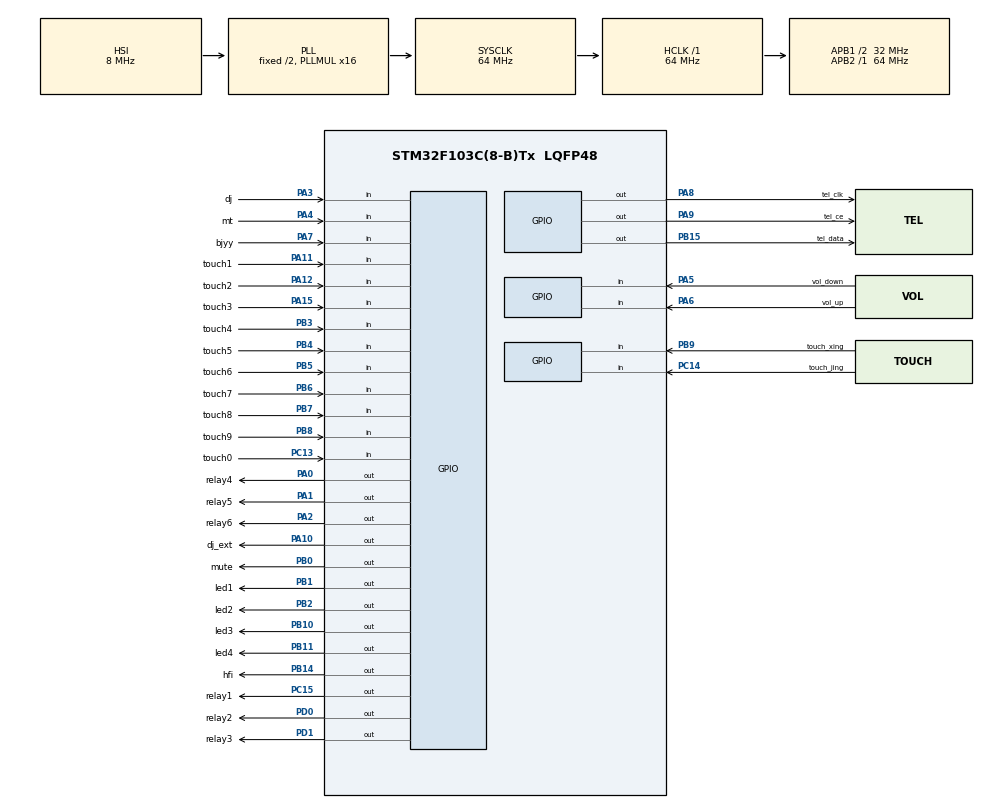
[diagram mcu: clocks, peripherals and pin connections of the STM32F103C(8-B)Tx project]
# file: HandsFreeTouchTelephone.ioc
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Mcu.Family=STM32F1
Mcu.Name=STM32F103C(8-B)Tx
Mcu.Package=LQFP48
NVIC.PriorityGroup=NVIC_PRIORITYGROUP_4
NVIC.TIM4_IRQn=true\:0\:0\:false\:false\:true\:true
PA0-WKUP.GPIO_Label=relay4
PA0-WKUP.GPIO_ModeDefaultOutputPP=GPIO_MODE_OUTPUT_PP
PA0-WKUP.GPIO_Speed=GPIO_SPEED_FREQ_LOW
PA0-WKUP.PinState=GPIO_PIN_RESET
PA0-WKUP.Signal=GPIO_Output
PA1.GPIO_Label=relay5
PA1.GPIO_ModeDefaultOutputPP=GPIO_MODE_OUTPUT_PP
PA1.GPIO_Speed=GPIO_SPEED_FREQ_LOW
PA1.PinState=GPIO_PIN_RESET
PA1.Signal=GPIO_Output
PA10.GPIO_Label=dj_ext
PA10.Signal=GPIO_Output
PA11.GPIO_Label=touch1
PA11.GPIO_Mode=GPIO_MODE_INPUT
PA11.GPIO_PuPd=GPIO_PULLUP
PA11.Signal=GPIO_Input
PA12.GPIO_Label=touch2
PA12.GPIO_Mode=GPIO_MODE_INPUT
PA12.GPIO_PuPd=GPIO_PULLUP
PA12.Signal=GPIO_Input
PA13.Mode=Serial_Wire
PA13.Signal=SYS_JTMS-SWDIO
PA14.Mode=Serial_Wire
PA14.Signal=SYS_JTCK-SWCLK
PA15.GPIO_Label=touch3
PA15.GPIO_Mode=GPIO_MODE_INPUT
PA15.GPIO_PuPd=GPIO_PULLUP
PA15.Signal=GPIO_Input
PA2.GPIO_Label=relay6
PA2.GPIO_ModeDefaultOutputPP=GPIO_MODE_OUTPUT_PP
PA2.GPIO_Speed=GPIO_SPEED_FREQ_LOW
PA2.PinState=GPIO_PIN_RESET
PA2.Signal=GPIO_Output
PA3.GPIO_Label=dj
PA3.GPIO_Mode=GPIO_MODE_INPUT
PA3.GPIO_PuPd=GPIO_NOPULL
PA3.Signal=GPIO_Input
PA4.GPIO_Label=mt
PA4.GPIO_Mode=GPIO_MODE_INPUT
PA4.GPIO_PuPd=GPIO_NOPULL
PA4.Signal=GPIO_Input
PA5.GPIO_Label=vol_down
PA5.GPIO_Mode=GPIO_MODE_INPUT
PA5.GPIO_PuPd=GPIO_NOPULL
PA5.Signal=GPIO_Input
PA6.GPIO_Label=vol_up
PA6.GPIO_Mode=GPIO_MODE_INPUT
PA6.GPIO_PuPd=GPIO_NOPULL
PA6.Signal=GPIO_Input
PA7.GPIO_Label=bjyy
PA7.GPIO_Mode=GPIO_MODE_INPUT
PA7.GPIO_PuPd=GPIO_NOPULL
PA7.Signal=GPIO_Input
PA8.GPIO_Label=tel_clk
PA8.GPIO_ModeDefaultOutputPP=GPIO_MODE_OUTPUT_PP
PA8.GPIO_Speed=GPIO_SPEED_FREQ_HIGH
PA8.PinState=GPIO_PIN_SET
PA8.Signal=GPIO_Output
PA9.GPIO_Label=tel_ce
PA9.GPIO_ModeDefaultOutputPP=GPIO_MODE_OUTPUT_PP
PA9.GPIO_Speed=GPIO_SPEED_FREQ_HIGH
PA9.PinState=GPIO_PIN_SET
PA9.Signal=GPIO_Output
PB0.GPIO_Label=mute
PB0.Signal=GPIO_Output
PB1.GPIO_Label=led1
PB1.GPIO_ModeDefaultOutputPP=GPIO_MODE_OUTPUT_PP
PB1.GPIO_Speed=GPIO_SPEED_FREQ_LOW
PB1.PinState=GPIO_PIN_SET
PB1.Signal=GPIO_Output
PB10.GPIO_Label=led3
PB10.GPIO_ModeDefaultOutputPP=GPIO_MODE_OUTPUT_PP
PB10.GPIO_Speed=GPIO_SPEED_FREQ_LOW
PB10.PinState=GPIO_PIN_SET
PB10.Signal=GPIO_Output
PB11.GPIO_Label=led4
PB11.GPIO_ModeDefaultOutputPP=GPIO_MODE_OUTPUT_PP
PB11.GPIO_Speed=GPIO_SPEED_FREQ_LOW
PB11.PinState=GPIO_PIN_SET
PB11.Signal=GPIO_Output
PB14.GPIO_Label=hfi
PB14.Signal=GPIO_Output
PB15.GPIO_Label=tel_data
PB15.GPIO_ModeDefaultOutputPP=GPIO_MODE_OUTPUT_PP
PB15.GPIO_Speed=GPIO_SPEED_FREQ_HIGH
PB15.PinState=GPIO_PIN_SET
PB15.Signal=GPIO_Output
PB2.GPIO_Label=led2
PB2.GPIO_ModeDefaultOutputPP=GPIO_MODE_OUTPUT_PP
PB2.GPIO_Speed=GPIO_SPEED_FREQ_LOW
PB2.PinState=GPIO_PIN_SET
PB2.Signal=GPIO_Output
PB3.GPIO_Label=touch4
PB3.GPIO_Mode=GPIO_MODE_INPUT
PB3.GPIO_PuPd=GPIO_PULLUP
PB3.Signal=GPIO_Input
PB4.GPIO_Label=touch5
PB4.GPIO_Mode=GPIO_MODE_INPUT
PB4.GPIO_PuPd=GPIO_PULLUP
PB4.Signal=GPIO_Input
PB5.GPIO_Label=touch6
PB5.GPIO_Mode=GPIO_MODE_INPUT
PB5.GPIO_PuPd=GPIO_PULLUP
PB5.Signal=GPIO_Input
PB6.GPIO_Label=touch7
PB6.GPIO_Mode=GPIO_MODE_INPUT
PB6.GPIO_PuPd=GPIO_PULLUP
PB6.Signal=GPIO_Input
PB7.GPIO_Label=touch8
PB7.GPIO_Mode=GPIO_MODE_INPUT
PB7.GPIO_PuPd=GPIO_PULLUP
PB7.Signal=GPIO_Input
PB8.GPIO_Label=touch9
PB8.GPIO_Mode=GPIO_MODE_INPUT
PB8.GPIO_PuPd=GPIO_PULLUP
PB8.Signal=GPIO_Input
PB9.GPIO_Label=touch_xing
PB9.GPIO_Mode=GPIO_MODE_INPUT
PB9.GPIO_PuPd=GPIO_PULLUP
PB9.Signal=GPIO_Input
PC13-TAMPER-RTC.GPIO_Label=touch0
PC13-TAMPER-RTC.GPIO_Mode=GPIO_MODE_INPUT
PC13-TAMPER-RTC.GPIO_PuPd=GPIO_PULLUP
PC13-TAMPER-RTC.Signal=GPIO_Input
PC14-OSC32_IN.GPIO_Label=touch_jing
PC14-OSC32_IN.GPIO_Mode=GPIO_MODE_INPUT
PC14-OSC32_IN.GPIO_PuPd=GPIO_PULLUP
PC14-OSC32_IN.Signal=GPIO_Input
PC15-OSC32_OUT.GPIO_Label=relay1
PC15-OSC32_OUT.GPIO_ModeDefaultOutputPP=GPIO_MODE_OUTPUT_PP
PC15-OSC32_OUT.GPIO_Speed=GPIO_SPEED_FREQ_LOW
PC15-OSC32_OUT.PinState=GPIO_PIN_RESET
PC15-OSC32_OUT.Signal=GPIO_Output
PD0-OSC_IN.GPIO_Label=relay2
PD0-OSC_IN.GPIO_ModeDefaultOutputPP=GPIO_MODE_OUTPUT_PP
PD0-OSC_IN.GPIO_Speed=GPIO_SPEED_FREQ_LOW
PD0-OSC_IN.PinState=GPIO_PIN_RESET
PD0-OSC_IN.Signal=GPIO_Output
PD1-OSC_OUT.GPIO_Label=relay3
PD1-OSC_OUT.GPIO_ModeDefaultOutputPP=GPIO_MODE_OUTPUT_PP
PD1-OSC_OUT.GPIO_Speed=GPIO_SPEED_FREQ_LOW
PD1-OSC_OUT.PinState=GPIO_PIN_RESET
PD1-OSC_OUT.Signal=GPIO_Output
ProjectManager.HeapSize=0x200
ProjectManager.StackSize=0x400
ProjectManager.TargetToolchain=Other Toolchains (GPDSC)
RCC.AHBFreq_Value=64000000
RCC.APB1CLKDivider=RCC_HCLK_DIV2
RCC.APB1Freq_Value=32000000
RCC.APB1TimFreq_Value=64000000
RCC.APB2Freq_Value=64000000
RCC.APB2TimFreq_Value=64000000
RCC.HCLKFreq_Value=64000000
RCC.PLLMUL=RCC_PLL_MUL16
RCC.SYSCLKFreq_VALUE=64000000
RCC.SYSCLKSource=RCC_SYSCLKSOURCE_PLLCLK
RCC.USBFreq_Value=64000000
TIM4.Period=1000
TIM4.Prescaler=63
VP_TIM4_VS_ClockSourceINT.Mode=Internal
board=HandsFreeTouchTelephone

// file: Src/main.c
/**
  ******************************************************************************
  * @file           : main.c
  * @brief          : Main program body
  ******************************************************************************
  ** This notice applies to any and all portions of this file
  * that are not between comment pairs USER CODE BEGIN and
  * USER CODE END. Other portions of this file, whether
  * inserted by the user or by software development tools
  * are owned by their respective copyright owners.
  *
  * COPYRIGHT(c) 2018 STMicroelectronics
  *
  * Redistribution and use in source and binary forms, with or without modification,
  * are permitted provided that the following conditions are met:
  *   1. Redistributions of source code must retain the above copyright notice,
  *      this list of conditions and the following disclaimer.
  *   2. Redistributions in binary form must reproduce the above copyright notice,
  *      this list of conditions and the following disclaimer in the documentation
  *      and/or other materials provided with the distribution.
  *   3. Neither the name of STMicroelectronics nor the names of its contributors
  *      may be used to endorse or promote products derived from this software
  *      without specific prior written permission.
  *
  * THIS SOFTWARE IS PROVIDED BY THE COPYRIGHT HOLDERS AND CONTRIBUTORS "AS IS"
  * AND ANY EXPRESS OR IMPLIED WARRANTIES, INCLUDING, BUT NOT LIMITED TO, THE
  * IMPLIED WARRANTIES OF MERCHANTABILITY AND FITNESS FOR A PARTICULAR PURPOSE ARE
  * DISCLAIMED. IN NO EVENT SHALL THE COPYRIGHT HOLDER OR CONTRIBUTORS BE LIABLE
  * FOR ANY DIRECT, INDIRECT, INCIDENTAL, SPECIAL, EXEMPLARY, OR CONSEQUENTIAL
  * DAMAGES (INCLUDING, BUT NOT LIMITED TO, PROCUREMENT OF SUBSTITUTE GOODS OR
  * SERVICES; LOSS OF USE, DATA, OR PROFITS; OR BUSINESS INTERRUPTION) HOWEVER
  * CAUSED AND ON ANY THEORY OF LIABILITY, WHETHER IN CONTRACT, STRICT LIABILITY,
  * OR TORT (INCLUDING NEGLIGENCE OR OTHERWISE) ARISING IN ANY WAY OUT OF THE USE
  * OF THIS SOFTWARE, EVEN IF ADVISED OF THE POSSIBILITY OF SUCH DAMAGE.
  *
  ******************************************************************************
  */
#include "main.h"
#include "stm32f1xx_hal.h"
#include "tim.h"
#include "gpio.h"

/* USER CODE BEGIN Includes */

#define HT9200_CE_LOW		HAL_GPIO_WritePin(tel_ce_GPIO_Port,tel_ce_Pin,GPIO_PIN_RESET)
#define HT9200_CE_HIGH		HAL_GPIO_WritePin(tel_ce_GPIO_Port,tel_ce_Pin,GPIO_PIN_SET)

#define HT9200_DATA_LOW		HAL_GPIO_WritePin(tel_data_GPIO_Port,tel_data_Pin,GPIO_PIN_RESET)
#define HT9200_DATA_HIGH	HAL_GPIO_WritePin(tel_data_GPIO_Port,tel_data_Pin,GPIO_PIN_SET)

#define HT9200_CLK_LOW		HAL_GPIO_WritePin(tel_clk_GPIO_Port,tel_clk_Pin,GPIO_PIN_RESET)
#define HT9200_CLK_HIGH		HAL_GPIO_WritePin(tel_clk_GPIO_Port,tel_clk_Pin,GPIO_PIN_SET)

#define HT9200_MUTE_HIGH	HAL_GPIO_WritePin(mute_GPIO_Port,mute_Pin,GPIO_PIN_SET)
#define HT9200_MUTE_LOW		HAL_GPIO_WritePin(mute_GPIO_Port,mute_Pin,GPIO_PIN_RESET)
/* USER CODE END Includes */

/* USER CODE BEGIN PV */
/* Private variables ---------------------------------------------------------*/

uint8_t bjyyFlag = 0;
int8_t bjyyValue = 4;
uint16_t count;
uint8_t muteFlag;

/* USER CODE END PV */

void SystemClock_Config(void);

/* USER CODE BEGIN PFP */
/* Private function prototypes -----------------------------------------------*/

/* USER CODE END PFP */

/* USER CODE BEGIN 0 */

void keyScan(void);
void sendOneBit(uint8_t dtmfData);

/* USER CODE END 0 */

int main(void)
{

  /* MCU Configuration----------------------------------------------------------*/

  /* Reset of all peripherals, Initializes the Flash interface and the Systick. */
  HAL_Init();

  /* Configure the system clock */
  SystemClock_Config();

  /* Initialize all configured peripherals */
  MX_GPIO_Init();
  MX_TIM4_Init();
  /* USER CODE BEGIN 2 */
  HAL_TIM_Base_Start_IT(&htim4);
  /* USER CODE END 2 */

  /* Infinite loop */
  while (1)
  {

  /* USER CODE BEGIN 3 */
	  keyScan();
  }
  /* USER CODE END 3 */

}

void SystemClock_Config(void)
{

  RCC_OscInitTypeDef RCC_OscInitStruct;
  RCC_ClkInitTypeDef RCC_ClkInitStruct;

    /**Initializes the CPU, AHB and APB busses clocks
    */
  RCC_OscInitStruct.OscillatorType = RCC_OSCILLATORTYPE_HSI;
  RCC_OscInitStruct.HSIState = RCC_HSI_ON;
  RCC_OscInitStruct.HSICalibrationValue = 16;
  RCC_OscInitStruct.PLL.PLLState = RCC_PLL_ON;
  RCC_OscInitStruct.PLL.PLLSource = RCC_PLLSOURCE_HSI_DIV2;
  RCC_OscInitStruct.PLL.PLLMUL = RCC_PLL_MUL16;
  if (HAL_RCC_OscConfig(&RCC_OscInitStruct) != HAL_OK)
  {
    _Error_Handler(__FILE__, __LINE__);
  }

    /**Initializes the CPU, AHB and APB busses clocks
    */
  RCC_ClkInitStruct.ClockType = RCC_CLOCKTYPE_HCLK|RCC_CLOCKTYPE_SYSCLK
                              |RCC_CLOCKTYPE_PCLK1|RCC_CLOCKTYPE_PCLK2;
  RCC_ClkInitStruct.SYSCLKSource = RCC_SYSCLKSOURCE_PLLCLK;
  RCC_ClkInitStruct.AHBCLKDivider = RCC_SYSCLK_DIV1;
  RCC_ClkInitStruct.APB1CLKDivider = RCC_HCLK_DIV2;
  RCC_ClkInitStruct.APB2CLKDivider = RCC_HCLK_DIV1;

  if (HAL_RCC_ClockConfig(&RCC_ClkInitStruct, FLASH_LATENCY_2) != HAL_OK)
  {
    _Error_Handler(__FILE__, __LINE__);
  }

    /**Configure the Systick interrupt time
    */
  HAL_SYSTICK_Config(HAL_RCC_GetHCLKFreq()/1000);

    /**Configure the Systick
    */
  HAL_SYSTICK_CLKSourceConfig(SYSTICK_CLKSOURCE_HCLK);

  /* SysTick_IRQn interrupt configuration */
  HAL_NVIC_SetPriority(SysTick_IRQn, 0, 0);
}

/* USER CODE BEGIN 4 */

void HAL_TIM_PeriodElapsedCallback(TIM_HandleTypeDef *htim)
{

	if (htim->Instance == TIM4)//tim4 1ms
	{

		if (muteFlag == 1) {
			count++;
		}

		if (count >4000) {
			muteFlag = 0;
			count = 0;
			//	HAL_GPIO_TogglePin(led3_GPIO_Port,led3_Pin);
			HT9200_MUTE_LOW;

		}
	}
}

void sendOneBit(uint8_t dtmfData) {

	muteFlag = 1;
	HT9200_MUTE_HIGH;
	HT9200_CE_LOW;
	HAL_Delay(20);
	for (int i = 0; i<5; i++) {
		HT9200_CLK_HIGH;
		HAL_Delay(4);
		if (dtmfData & 0x01) {
			HT9200_DATA_HIGH;
			HAL_Delay(4);
		}
		else {
			HT9200_DATA_LOW;
			HAL_Delay(4);
		}
		HT9200_CLK_LOW;
		HAL_Delay(4);
		HT9200_CLK_HIGH;
		HAL_Delay(4);
		dtmfData >>= 1;
	}
	HAL_Delay(100);
	HT9200_CE_HIGH;
	HT9200_DATA_HIGH;
	HAL_Delay(10);
}

void keyScan() {

	/*对讲*/
	if (HAL_GPIO_ReadPin(dj_GPIO_Port,dj_Pin) == 0)
	{
		HAL_GPIO_WritePin(dj_ext_GPIO_Port, dj_ext_Pin, GPIO_PIN_SET);
	}
	else {
		HAL_GPIO_WritePin(dj_ext_GPIO_Port, dj_ext_Pin, GPIO_PIN_RESET);
	}

	/*免提*/
	if (HAL_GPIO_ReadPin(mt_GPIO_Port, mt_Pin) == 0) {
		HAL_Delay(20);
		if (HAL_GPIO_ReadPin(mt_GPIO_Port, mt_Pin) == 0) {
			HAL_Delay(20);
			while (HAL_GPIO_ReadPin(mt_GPIO_Port, mt_Pin) == 0) {}
			HAL_GPIO_TogglePin(hfi_GPIO_Port, hfi_Pin);
		}
	}

	/*背景音乐*/

	if (HAL_GPIO_ReadPin(bjyy_GPIO_Port, bjyy_Pin) == 0) {
		HAL_Delay(20);
		if (HAL_GPIO_ReadPin(bjyy_GPIO_Port, bjyy_Pin) == 0) {
			HAL_Delay(20);
			while (HAL_GPIO_ReadPin(bjyy_GPIO_Port, bjyy_Pin) == 0) {}

			if (bjyyFlag == 0)
			{
				bjyyFlag = 1;
			}
			else
			{
				bjyyFlag = 0;
			}

		}
	}

	if (1 == bjyyFlag)
	{
		if (HAL_GPIO_ReadPin(vol_up_GPIO_Port, vol_up_Pin) == 0) {
			HAL_Delay(20);
			if (HAL_GPIO_ReadPin(vol_up_GPIO_Port, vol_up_Pin) == 0) {
				HAL_Delay(20);
				while (HAL_GPIO_ReadPin(vol_up_GPIO_Port, vol_up_Pin) == 0) {}

				bjyyValue++;
				if (bjyyValue > 4)
				{
					bjyyValue = 4;
				}
			}
		}

		if (HAL_GPIO_ReadPin(vol_down_GPIO_Port, vol_down_Pin) == 0) {
			HAL_Delay(20);
			if (HAL_GPIO_ReadPin(vol_down_GPIO_Port, vol_down_Pin) == 0) {
				HAL_Delay(20);
				while (HAL_GPIO_ReadPin(vol_down_GPIO_Port, vol_down_Pin) == 0) {}

				bjyyValue--;
				if (bjyyValue < 1)
				{
					bjyyValue = 1;
				}
			}
		}

	}

	/*显示音量*/

	if (1 == bjyyFlag)
	{
		switch (bjyyValue)
		{
		case 0: HAL_GPIO_WritePin(led1_GPIO_Port, led1_Pin, GPIO_PIN_SET);
			HAL_GPIO_WritePin(led2_GPIO_Port, led2_Pin, GPIO_PIN_SET);
			HAL_GPIO_WritePin(led3_GPIO_Port, led3_Pin, GPIO_PIN_SET);
			HAL_GPIO_WritePin(led4_GPIO_Port, led4_Pin, GPIO_PIN_SET);

			HAL_GPIO_WritePin(relay1_GPIO_Port, relay1_Pin, GPIO_PIN_RESET);
			HAL_GPIO_WritePin(relay2_GPIO_Port, relay2_Pin, GPIO_PIN_RESET);
			HAL_GPIO_WritePin(relay3_GPIO_Port, relay3_Pin, GPIO_PIN_RESET);
			HAL_GPIO_WritePin(relay4_GPIO_Port, relay4_Pin, GPIO_PIN_RESET);
			break;

		case 1: HAL_GPIO_WritePin(led1_GPIO_Port, led1_Pin, GPIO_PIN_RESET);
			HAL_GPIO_WritePin(led2_GPIO_Port, led2_Pin, GPIO_PIN_SET);
			HAL_GPIO_WritePin(led3_GPIO_Port, led3_Pin, GPIO_PIN_SET);
			HAL_GPIO_WritePin(led4_GPIO_Port, led4_Pin, GPIO_PIN_SET);

			HAL_GPIO_WritePin(relay1_GPIO_Port, relay1_Pin, GPIO_PIN_RESET);
			HAL_GPIO_WritePin(relay2_GPIO_Port, relay2_Pin, GPIO_PIN_RESET);
			HAL_GPIO_WritePin(relay3_GPIO_Port, relay3_Pin, GPIO_PIN_RESET);
			HAL_GPIO_WritePin(relay4_GPIO_Port, relay4_Pin, GPIO_PIN_SET);
			break;

		case 2: HAL_GPIO_WritePin(led1_GPIO_Port, led1_Pin, GPIO_PIN_RESET);
			HAL_GPIO_WritePin(led2_GPIO_Port, led2_Pin, GPIO_PIN_RESET);
			HAL_GPIO_WritePin(led3_GPIO_Port, led3_Pin, GPIO_PIN_SET);
			HAL_GPIO_WritePin(led4_GPIO_Port, led4_Pin, GPIO_PIN_SET);

			HAL_GPIO_WritePin(relay1_GPIO_Port, relay1_Pin, GPIO_PIN_RESET);
			HAL_GPIO_WritePin(relay2_GPIO_Port, relay2_Pin, GPIO_PIN_RESET);
			HAL_GPIO_WritePin(relay3_GPIO_Port, relay3_Pin, GPIO_PIN_SET);
			HAL_GPIO_WritePin(relay4_GPIO_Port, relay4_Pin, GPIO_PIN_RESET);
			break;

		case 3: HAL_GPIO_WritePin(led1_GPIO_Port, led1_Pin, GPIO_PIN_RESET);
			HAL_GPIO_WritePin(led2_GPIO_Port, led2_Pin, GPIO_PIN_RESET);
			HAL_GPIO_WritePin(led3_GPIO_Port, led3_Pin, GPIO_PIN_RESET);
			HAL_GPIO_WritePin(led4_GPIO_Port, led4_Pin, GPIO_PIN_SET);

			HAL_GPIO_WritePin(relay1_GPIO_Port, relay1_Pin, GPIO_PIN_RESET);
			HAL_GPIO_WritePin(relay2_GPIO_Port, relay2_Pin, GPIO_PIN_SET);
			HAL_GPIO_WritePin(relay3_GPIO_Port, relay3_Pin, GPIO_PIN_RESET);
			HAL_GPIO_WritePin(relay4_GPIO_Port, relay4_Pin, GPIO_PIN_RESET);
			break;

		case 4: HAL_GPIO_WritePin(led1_GPIO_Port, led1_Pin, GPIO_PIN_RESET);
			HAL_GPIO_WritePin(led2_GPIO_Port, led2_Pin, GPIO_PIN_RESET);
			HAL_GPIO_WritePin(led3_GPIO_Port, led3_Pin, GPIO_PIN_RESET);
			HAL_GPIO_WritePin(led4_GPIO_Port, led4_Pin, GPIO_PIN_RESET);

			HAL_GPIO_WritePin(relay1_GPIO_Port, relay1_Pin, GPIO_PIN_SET);
			HAL_GPIO_WritePin(relay2_GPIO_Port, relay2_Pin, GPIO_PIN_RESET);
			HAL_GPIO_WritePin(relay3_GPIO_Port, relay3_Pin, GPIO_PIN_RESET);
			HAL_GPIO_WritePin(relay4_GPIO_Port, relay4_Pin, GPIO_PIN_RESET);
			break;

		}
	}
	else
	{
		HAL_GPIO_WritePin(led1_GPIO_Port, led1_Pin, GPIO_PIN_SET);
		HAL_GPIO_WritePin(led2_GPIO_Port, led2_Pin, GPIO_PIN_SET);
		HAL_GPIO_WritePin(led3_GPIO_Port, led3_Pin, GPIO_PIN_SET);
		HAL_GPIO_WritePin(led4_GPIO_Port, led4_Pin, GPIO_PIN_SET);

		HAL_GPIO_WritePin(relay1_GPIO_Port, relay1_Pin, GPIO_PIN_RESET);
		HAL_GPIO_WritePin(relay2_GPIO_Port, relay2_Pin, GPIO_PIN_RESET);
		HAL_GPIO_WritePin(relay3_GPIO_Port, relay3_Pin, GPIO_PIN_RESET);
		HAL_GPIO_WritePin(relay4_GPIO_Port, relay4_Pin, GPIO_PIN_RESET);
	}

	/*拨号*/
	if (HAL_GPIO_ReadPin(touch0_GPIO_Port, touch0_Pin) == 0) {
		HAL_Delay(20);
		if (HAL_GPIO_ReadPin(touch0_GPIO_Port, touch0_Pin) == 0) {
			HAL_Delay(20);
			while (HAL_GPIO_ReadPin(touch0_GPIO_Port, touch0_Pin) == 0) {}
			//HAL_GPIO_TogglePin(led3_GPIO_Port,led3_Pin);
			sendOneBit(0X0A);

		}
	}

	if (HAL_GPIO_ReadPin(touch1_GPIO_Port, touch1_Pin) == 0) {
		HAL_Delay(20);
		if (HAL_GPIO_ReadPin(touch1_GPIO_Port, touch1_Pin) == 0) {
			HAL_Delay(20);
			while (HAL_GPIO_ReadPin(touch1_GPIO_Port, touch1_Pin) == 0) {}
			//HAL_GPIO_TogglePin(led3_GPIO_Port,led3_Pin);
			sendOneBit(1);

		}
	}

	if (HAL_GPIO_ReadPin(touch2_GPIO_Port, touch2_Pin) == 0) {
		HAL_Delay(20);
		if (HAL_GPIO_ReadPin(touch2_GPIO_Port, touch2_Pin) == 0) {
			HAL_Delay(20);
			while (HAL_GPIO_ReadPin(touch2_GPIO_Port, touch2_Pin) == 0) {}
			//HAL_GPIO_TogglePin(led3_GPIO_Port,led3_Pin);
			sendOneBit(2);

		}
	}

	if (HAL_GPIO_ReadPin(touch3_GPIO_Port, touch3_Pin) == 0) {
		HAL_Delay(20);
		if (HAL_GPIO_ReadPin(touch3_GPIO_Port, touch3_Pin) == 0) {
			HAL_Delay(20);
			while (HAL_GPIO_ReadPin(touch3_GPIO_Port, touch3_Pin) == 0) {}
			//	HAL_GPIO_TogglePin(led3_GPIO_Port,led3_Pin);
			sendOneBit(3);

		}
	}

	if (HAL_GPIO_ReadPin(touch4_GPIO_Port, touch4_Pin) == 0) {
		HAL_Delay(20);
		if (HAL_GPIO_ReadPin(touch4_GPIO_Port, touch4_Pin) == 0) {
			HAL_Delay(20);
			while (HAL_GPIO_ReadPin(touch4_GPIO_Port, touch4_Pin) == 0) {}
			//	HAL_GPIO_TogglePin(led3_GPIO_Port,led3_Pin);
			sendOneBit(4);

		}
	}

	if (HAL_GPIO_ReadPin(touch5_GPIO_Port, touch5_Pin) == 0) {
		HAL_Delay(20);
		if (HAL_GPIO_ReadPin(touch5_GPIO_Port, touch5_Pin) == 0) {
			HAL_Delay(20);
			while (HAL_GPIO_ReadPin(touch5_GPIO_Port, touch5_Pin) == 0) {}
			//	HAL_GPIO_TogglePin(led3_GPIO_Port,led3_Pin);
			sendOneBit(5);

		}
	}

	if (HAL_GPIO_ReadPin(touch6_GPIO_Port, touch6_Pin) == 0) {
		HAL_Delay(20);
		if (HAL_GPIO_ReadPin(touch6_GPIO_Port, touch6_Pin) == 0) {
			HAL_Delay(20);
			while (HAL_GPIO_ReadPin(touch6_GPIO_Port, touch6_Pin) == 0) {}
			//	HAL_GPIO_TogglePin(led3_GPIO_Port,led3_Pin);
			sendOneBit(6);

		}
	}

	if (HAL_GPIO_ReadPin(touch7_GPIO_Port, touch7_Pin) == 0) {
		HAL_Delay(20);
		if (HAL_GPIO_ReadPin(touch7_GPIO_Port, touch7_Pin) == 0) {
			HAL_Delay(20);
			while (HAL_GPIO_ReadPin(touch7_GPIO_Port, touch7_Pin) == 0) {}
			//	HAL_GPIO_TogglePin(led3_GPIO_Port,led3_Pin);
			sendOneBit(7);

		}
	}

	if (HAL_GPIO_ReadPin(touch8_GPIO_Port, touch8_Pin) == 0) {
		HAL_Delay(20);
		if (HAL_GPIO_ReadPin(touch8_GPIO_Port, touch8_Pin) == 0) {
			HAL_Delay(20);
			while (HAL_GPIO_ReadPin(touch8_GPIO_Port, touch8_Pin) == 0) {}
			//		HAL_GPIO_TogglePin(led3_GPIO_Port,led3_Pin);
			sendOneBit(8);

		}
	}

	if (HAL_GPIO_ReadPin(touch9_GPIO_Port, touch9_Pin) == 0) {
		HAL_Delay(20);
		if (HAL_GPIO_ReadPin(touch9_GPIO_Port, touch9_Pin) == 0) {
			HAL_Delay(20);
			while (HAL_GPIO_ReadPin(touch9_GPIO_Port, touch9_Pin) == 0) {}
			//		HAL_GPIO_TogglePin(led3_GPIO_Port,led3_Pin);
			sendOneBit(9);

		}
	}

	if (HAL_GPIO_ReadPin(touch_xing_GPIO_Port, touch_xing_Pin) == 0) {
		HAL_Delay(20);
		if (HAL_GPIO_ReadPin(touch_xing_GPIO_Port, touch_xing_Pin) == 0) {
			HAL_Delay(20);
			while (HAL_GPIO_ReadPin(touch_xing_GPIO_Port, touch_xing_Pin) == 0) {}
			//	HAL_GPIO_TogglePin(led3_GPIO_Port,led3_Pin);
			sendOneBit(0x0b);
		}
	}

	if (HAL_GPIO_ReadPin(touch_jing_GPIO_Port, touch_jing_Pin) == 0) {
		HAL_Delay(20);
		if (HAL_GPIO_ReadPin(touch_jing_GPIO_Port, touch_jing_Pin) == 0) {
			HAL_Delay(20);
			while (HAL_GPIO_ReadPin(touch_jing_GPIO_Port, touch_jing_Pin) == 0) {}
			//	HAL_GPIO_TogglePin(led3_GPIO_Port,led3_Pin);
			sendOneBit(0x0c);
		}
	}

}

/* USER CODE END 4 */

void _Error_Handler(char *file, int line)
{
  while(1)
  {
  }
}

/************************ (C) COPYRIGHT STMicroelectronics *****END OF FILE****/
